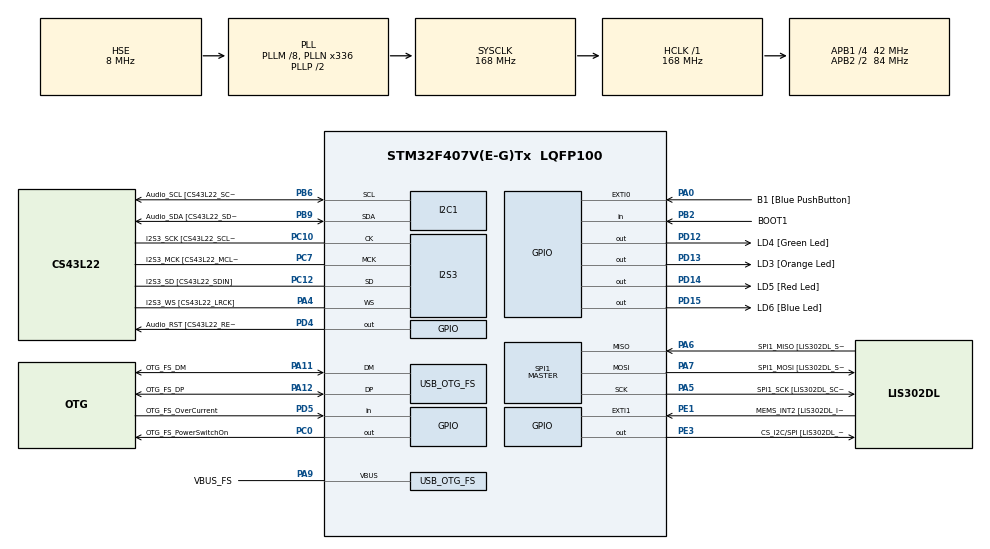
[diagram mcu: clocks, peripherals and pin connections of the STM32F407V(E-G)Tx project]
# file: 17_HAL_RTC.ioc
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I2S3.AudioFreq-Half_Duplex_Master=I2S_AUDIOFREQ_96K
I2S3.ErrorAudioFreq=-2.34 %
I2S3.ErrorAudioFreq-Half_Duplex_Master=0.8 %
I2S3.FullDuplexMode=I2S_FULLDUPLEXMODE_DISABLE
I2S3.Instance=SPI$Index
I2S3.RealAudioFreq=93.75 KHz
I2S3.RealAudioFreq-Half_Duplex_Master=96.774 KHz
I2S3.VirtualMode=I2S_MODE_MASTER
Mcu.Family=STM32F4
Mcu.Name=STM32F407V(E-G)Tx
Mcu.Package=LQFP100
NVIC.OTG_FS_IRQn=true\:0\:0\:false\:false\:true\:true\:true\:true
NVIC.PriorityGroup=NVIC_PRIORITYGROUP_0
PA0-WKUP.GPIO_Label=B1 [Blue PushButton]
PA0-WKUP.GPIO_ModeDefaultEXTI=GPIO_MODE_EVT_RISING
PA0-WKUP.GPIO_PuPd=GPIO_NOPULL
PA0-WKUP.Signal=GPXTI0
PA10.GPIO_Label=OTG_FS_ID
PA10.GPIO_Mode=GPIO_MODE_AF_PP
PA10.GPIO_PuPd=GPIO_NOPULL
PA10.GPIO_Speed=GPIO_SPEED_FREQ_LOW
PA10.Signal=USB_OTG_FS_ID
PA11.GPIO_Label=OTG_FS_DM
PA11.GPIO_Mode=GPIO_MODE_AF_PP
PA11.GPIO_PuPd=GPIO_NOPULL
PA11.GPIO_Speed=GPIO_SPEED_FREQ_LOW
PA11.Mode=Host_Only
PA11.Signal=USB_OTG_FS_DM
PA12.GPIO_Label=OTG_FS_DP
PA12.GPIO_Mode=GPIO_MODE_AF_PP
PA12.GPIO_PuPd=GPIO_NOPULL
PA12.GPIO_Speed=GPIO_SPEED_FREQ_LOW
PA12.Mode=Host_Only
PA12.Signal=USB_OTG_FS_DP
PA13.GPIO_Label=SWDIO
PA13.Mode=Serial_Wire
PA13.Signal=SYS_JTMS-SWDIO
PA14.GPIO_Label=SWCLK
PA14.Mode=Serial_Wire
PA14.Signal=SYS_JTCK-SWCLK
PA4.GPIO_Label=I2S3_WS [CS43L22_LRCK]
PA4.GPIO_Mode=GPIO_MODE_AF_PP
PA4.GPIO_PuPd=GPIO_NOPULL
PA4.GPIO_Speed=GPIO_SPEED_FREQ_LOW
PA4.Mode=Half_Duplex_Master
PA4.Signal=I2S3_WS
PA5.GPIO_Label=SPI1_SCK [LIS302DL_SCL/SPC]
PA5.GPIO_Mode=GPIO_MODE_AF_PP
PA5.GPIO_PuPd=GPIO_NOPULL
PA5.GPIO_Speed=GPIO_SPEED_FREQ_LOW
PA5.Mode=Full_Duplex_Master
PA5.Signal=SPI1_SCK
PA6.GPIO_Label=SPI1_MISO [LIS302DL_SDO]
PA6.GPIO_Mode=GPIO_MODE_AF_PP
PA6.GPIO_PuPd=GPIO_NOPULL
PA6.GPIO_Speed=GPIO_SPEED_FREQ_LOW
PA6.Mode=Full_Duplex_Master
PA6.Signal=SPI1_MISO
PA7.GPIO_Label=SPI1_MOSI [LIS302DL_SDA/SDI/SDO]
PA7.GPIO_Mode=GPIO_MODE_AF_PP
PA7.GPIO_PuPd=GPIO_NOPULL
PA7.GPIO_Speed=GPIO_SPEED_FREQ_LOW
PA7.Mode=Full_Duplex_Master
PA7.Signal=SPI1_MOSI
PA9.GPIO_Label=VBUS_FS
PA9.GPIO_Mode=GPIO_MODE_INPUT
PA9.GPIO_PuPd=GPIO_NOPULL
PA9.Mode=Activate_VBUS
PA9.Signal=USB_OTG_FS_VBUS
PB10.GPIO_Label=CLK_IN [MP45DT02_CLK]
PB10.GPIO_Mode=GPIO_MODE_AF_PP
PB10.GPIO_PuPd=GPIO_NOPULL
PB10.GPIO_Speed=GPIO_SPEED_FREQ_LOW
PB10.Signal=I2S2_CK
PB2.GPIO_Label=BOOT1
PB2.GPIO_Mode=GPIO_MODE_INPUT
PB2.GPIO_PuPd=GPIO_NOPULL
PB2.Signal=GPIO_Input
PB3.GPIO_Label=SWO
PB3.Signal=SYS_JTDO-SWO
PB6.GPIO_Label=Audio_SCL [CS43L22_SCL]
PB6.GPIO_Mode=GPIO_MODE_AF_OD
PB6.GPIO_Pu=GPIO_PULLUP
PB6.GPIO_PuPd=GPIO_NOPULL
PB6.GPIO_Speed=GPIO_SPEED_FREQ_LOW
PB6.Mode=I2C
PB6.Signal=I2C1_SCL
PB9.GPIO_Label=Audio_SDA [CS43L22_SDA]
PB9.GPIO_Mode=GPIO_MODE_AF_OD
PB9.GPIO_Pu=GPIO_PULLUP
PB9.GPIO_PuPd=GPIO_NOPULL
PB9.GPIO_Speed=GPIO_SPEED_FREQ_LOW
PB9.Mode=I2C
PB9.Signal=I2C1_SDA
PC0.GPIO_Label=OTG_FS_PowerSwitchOn
PC0.GPIO_PuPd=GPIO_NOPULL
PC0.GPIO_Speed=GPIO_SPEED_FREQ_LOW
PC0.PinState=GPIO_PIN_SET
PC0.Signal=GPIO_Output
PC10.GPIO_Label=I2S3_SCK [CS43L22_SCLK]
PC10.GPIO_Mode=GPIO_MODE_AF_PP
PC10.GPIO_PuPd=GPIO_NOPULL
PC10.GPIO_Speed=GPIO_SPEED_FREQ_LOW
PC10.Mode=Half_Duplex_Master
PC10.Signal=I2S3_CK
PC12.GPIO_Label=I2S3_SD [CS43L22_SDIN]
PC12.GPIO_Mode=GPIO_MODE_AF_PP
PC12.GPIO_PuPd=GPIO_NOPULL
PC12.GPIO_Speed=GPIO_SPEED_FREQ_LOW
PC12.Mode=Half_Duplex_Master
PC12.Signal=I2S3_SD
PC14-OSC32_IN.GPIO_Label=PC14-OSC32_IN
PC14-OSC32_IN.Mode=LSE-External-Oscillator
PC14-OSC32_IN.Signal=RCC_OSC32_IN
PC15-OSC32_OUT.GPIO_Label=PC15-OSC32_OUT
PC15-OSC32_OUT.Mode=LSE-External-Oscillator
PC15-OSC32_OUT.Signal=RCC_OSC32_OUT
PC3.GPIO_Label=PDM_OUT [MP45DT02_DOUT]
PC3.GPIO_Mode=GPIO_MODE_AF_PP
PC3.GPIO_PuPd=GPIO_NOPULL
PC3.GPIO_Speed=GPIO_SPEED_FREQ_LOW
PC3.Signal=I2S2_SD
PC7.GPIO_Label=I2S3_MCK [CS43L22_MCLK]
PC7.GPIO_Mode=GPIO_MODE_AF_PP
PC7.GPIO_PuPd=GPIO_NOPULL
PC7.GPIO_Speed=GPIO_SPEED_FREQ_LOW
PC7.Mode=Master_Clock_Activated
PC7.Signal=I2S3_MCK
PD12.GPIO_Label=LD4 [Green Led]
PD12.GPIO_PuPd=GPIO_NOPULL
PD12.GPIO_Speed=GPIO_SPEED_FREQ_LOW
PD12.Signal=GPIO_Output
PD13.GPIO_Label=LD3 [Orange Led]
PD13.GPIO_PuPd=GPIO_NOPULL
PD13.GPIO_Speed=GPIO_SPEED_FREQ_LOW
PD13.Signal=GPIO_Output
PD14.GPIO_Label=LD5 [Red Led]
PD14.GPIO_PuPd=GPIO_NOPULL
PD14.GPIO_Speed=GPIO_SPEED_FREQ_LOW
PD14.Signal=GPIO_Output
PD15.GPIO_Label=LD6 [Blue Led]
PD15.GPIO_PuPd=GPIO_NOPULL
PD15.GPIO_Speed=GPIO_SPEED_FREQ_LOW
PD15.Signal=GPIO_Output
PD4.GPIO_Label=Audio_RST [CS43L22_RESET]
PD4.GPIO_PuPd=GPIO_NOPULL
PD4.GPIO_Speed=GPIO_SPEED_FREQ_LOW
PD4.Signal=GPIO_Output
PD5.GPIO_Label=OTG_FS_OverCurrent
PD5.GPIO_Mode=GPIO_MODE_INPUT
PD5.GPIO_PuPd=GPIO_NOPULL
PD5.Signal=GPIO_Input
PE1.GPIO_Label=MEMS_INT2 [LIS302DL_INT2]
PE1.GPIO_ModeDefaultEXTI=GPIO_MODE_EVT_RISING
PE1.GPIO_PuPd=GPIO_NOPULL
PE1.Signal=GPXTI1
PE3.GPIO_Label=CS_I2C/SPI [LIS302DL_CS_I2C/SPI]
PE3.GPIO_PuPd=GPIO_NOPULL
PE3.GPIO_Speed=GPIO_SPEED_FREQ_LOW
PE3.Signal=GPIO_Output
PH0-OSC_IN.GPIO_Label=PH0-OSC_IN
PH0-OSC_IN.Mode=HSE-External-Oscillator
PH0-OSC_IN.Signal=RCC_OSC_IN
PH1-OSC_OUT.GPIO_Label=PH1-OSC_OUT
PH1-OSC_OUT.Mode=HSE-External-Oscillator
PH1-OSC_OUT.Signal=RCC_OSC_OUT
ProjectManager.HeapSize=0x200
ProjectManager.StackSize=0x400
ProjectManager.TargetToolchain=STM32CubeIDE
RCC.48MHZClocksFreq_Value=48000000
RCC.AHBFreq_Value=168000000
RCC.APB1CLKDivider=RCC_HCLK_DIV4
RCC.APB1Freq_Value=42000000
RCC.APB1TimFreq_Value=84000000
RCC.APB2CLKDivider=RCC_HCLK_DIV2
RCC.APB2Freq_Value=84000000
RCC.APB2TimFreq_Value=168000000
RCC.CortexFreq_Value=168000000
RCC.HCLKFreq_Value=168000000
RCC.HSE_VALUE=8000000
RCC.HSI_VALUE=16000000
RCC.PLLM=8
RCC.PLLN=336
RCC.PLLQ=7
RCC.SYSCLKFreq_VALUE=168000000
RCC.SYSCLKSource=RCC_SYSCLKSOURCE_PLLCLK
RCC.VCOOutputFreq_Value=336000000
RTC.Alarm=RTC_ALARM_A
RTC.Alarm_B=RTC_ALARM_B
SPI1.BaudRatePrescaler-Full_Duplex_Master=SPI_BAUDRATEPRESCALER_2
SPI1.CalculateBaudRate-Full_Duplex_Master=42.0 MBits/s
SPI1.Direction=SPI_DIRECTION_2LINES
SPI1.Mode=SPI_MODE_MASTER
SPI1.Mode-Full_Duplex_Master=SPI_MODE_MASTER
SPI1.VirtualType=VM_MASTER
USB_HOST.BSP.number=1
USB_HOST.USBH_HandleTypeDef-CDC_FS=hUsbHostFS
USB_HOST.VirtualModeFS=Cdc
USB_HOST0.BSP.STBoard=false
USB_HOST0.BSP.api=Unknown
USB_HOST0.BSP.instance=PC0
USB_HOST0.BSP.ip=GPIO
USB_HOST0.BSP.mode=Output
USB_HOST0.BSP.name=Drive_VBUS_FS
USB_HOST0.BSP.solution=PC0
USB_OTG_FS.VirtualMode=Host_Only
USB_OTG_FS.phy_itface=HCD_PHY_EMBEDDED
VP_RTC_VS_RTC_Activate.Mode=RTC_Enabled
VP_RTC_VS_RTC_Alarm_A_Intern.Mode=Alarm A
VP_RTC_VS_RTC_Alarm_B_Intern.Mode=Alarm B
VP_RTC_VS_RTC_Calendar.Mode=RTC_Calendar
VP_RTC_VS_RTC_WakeUp_intern.Mode=WakeUp
VP_USB_HOST_VS_USB_HOST_CDC_FS.Mode=CDC_FS
board=STM32F407G-DISC1

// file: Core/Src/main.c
/* USER CODE BEGIN Header */
/**
  ******************************************************************************
  * @file           : main.c
  * @brief          : Main program body
  ******************************************************************************
  * @attention
  *
  * Copyright (c) 2026 STMicroelectronics.
  * All rights reserved.
  *
  * This software is licensed under terms that can be found in the LICENSE file
  * in the root directory of this software component.
  * If no LICENSE file comes with this software, it is provided AS-IS.
  *
  ******************************************************************************
  */
/* USER CODE END Header */
#include "main.h"
#include "usb_host.h"

/* USER CODE BEGIN Includes */

#include <stdio.h>
/* USER CODE END Includes */

I2C_HandleTypeDef hi2c1;

I2S_HandleTypeDef hi2s3;

RTC_HandleTypeDef hrtc;

SPI_HandleTypeDef hspi1;

/* USER CODE BEGIN PV */
RTC_TimeTypeDef sTime;
RTC_DateTypeDef sDate;
/* USER CODE END PV */

void SystemClock_Config(void);
static void MX_GPIO_Init(void);
static void MX_I2C1_Init(void);
static void MX_I2S3_Init(void);
static void MX_SPI1_Init(void);
static void MX_RTC_Init(void);
void MX_USB_HOST_Process(void);

int main(void)
{

  /* MCU Configuration--------------------------------------------------------*/

  /* Reset of all peripherals, Initializes the Flash interface and the Systick. */
  HAL_Init();

  /* Configure the system clock */
  SystemClock_Config();

  /* Initialize all configured peripherals */
  MX_GPIO_Init();
  MX_I2C1_Init();
  MX_I2S3_Init();
  MX_SPI1_Init();
  MX_USB_HOST_Init();
  MX_RTC_Init();
  /* USER CODE BEGIN 2 */
  sTime.Hours = 10;
  sTime.Minutes = 30;
  sTime.Seconds = 0;

  HAL_RTC_SetTime(&hrtc, &sTime, RTC_FORMAT_BIN);

  sDate.WeekDay = RTC_WEEKDAY_MONDAY;
  sDate.Month = RTC_MONTH_MAY;
  sDate.Date = 17;
  sDate.Year = 26;

  HAL_RTC_SetDate(&hrtc, &sDate, RTC_FORMAT_BIN);
  /* USER CODE END 2 */

  /* Infinite loop */
  while (1)
  {
	  HAL_RTC_GetTime(&hrtc, &sTime, RTC_FORMAT_BIN);
	  HAL_RTC_GetDate(&hrtc, &sDate, RTC_FORMAT_BIN);

	  printf("Time: %02d:%02d:%02d\r\n",
	         sTime.Hours,
	         sTime.Minutes,
	         sTime.Seconds);

	  HAL_Delay(1000);

  }
}

void SystemClock_Config(void)
{
  RCC_OscInitTypeDef RCC_OscInitStruct = {0};
  RCC_ClkInitTypeDef RCC_ClkInitStruct = {0};

  /** Configure the main internal regulator output voltage
  */
  __HAL_RCC_PWR_CLK_ENABLE();
  __HAL_PWR_VOLTAGESCALING_CONFIG(PWR_REGULATOR_VOLTAGE_SCALE1);

  /** Initializes the RCC Oscillators according to the specified parameters
  * in the RCC_OscInitTypeDef structure.
  */
  RCC_OscInitStruct.OscillatorType = RCC_OSCILLATORTYPE_LSI|RCC_OSCILLATORTYPE_HSE;
  RCC_OscInitStruct.HSEState = RCC_HSE_ON;
  RCC_OscInitStruct.LSIState = RCC_LSI_ON;
  RCC_OscInitStruct.PLL.PLLState = RCC_PLL_ON;
  RCC_OscInitStruct.PLL.PLLSource = RCC_PLLSOURCE_HSE;
  RCC_OscInitStruct.PLL.PLLM = 8;
  RCC_OscInitStruct.PLL.PLLN = 336;
  RCC_OscInitStruct.PLL.PLLP = RCC_PLLP_DIV2;
  RCC_OscInitStruct.PLL.PLLQ = 7;
  if (HAL_RCC_OscConfig(&RCC_OscInitStruct) != HAL_OK)
  {
    Error_Handler();
  }

  /** Initializes the CPU, AHB and APB buses clocks
  */
  RCC_ClkInitStruct.ClockType = RCC_CLOCKTYPE_HCLK|RCC_CLOCKTYPE_SYSCLK
                              |RCC_CLOCKTYPE_PCLK1|RCC_CLOCKTYPE_PCLK2;
  RCC_ClkInitStruct.SYSCLKSource = RCC_SYSCLKSOURCE_PLLCLK;
  RCC_ClkInitStruct.AHBCLKDivider = RCC_SYSCLK_DIV1;
  RCC_ClkInitStruct.APB1CLKDivider = RCC_HCLK_DIV4;
  RCC_ClkInitStruct.APB2CLKDivider = RCC_HCLK_DIV2;

  if (HAL_RCC_ClockConfig(&RCC_ClkInitStruct, FLASH_LATENCY_5) != HAL_OK)
  {
    Error_Handler();
  }
}

static void MX_I2C1_Init(void)
{

  hi2c1.Instance = I2C1;
  hi2c1.Init.ClockSpeed = 100000;
  hi2c1.Init.DutyCycle = I2C_DUTYCYCLE_2;
  hi2c1.Init.OwnAddress1 = 0;
  hi2c1.Init.AddressingMode = I2C_ADDRESSINGMODE_7BIT;
  hi2c1.Init.DualAddressMode = I2C_DUALADDRESS_DISABLE;
  hi2c1.Init.OwnAddress2 = 0;
  hi2c1.Init.GeneralCallMode = I2C_GENERALCALL_DISABLE;
  hi2c1.Init.NoStretchMode = I2C_NOSTRETCH_DISABLE;
  if (HAL_I2C_Init(&hi2c1) != HAL_OK)
  {
    Error_Handler();
  }

}

static void MX_I2S3_Init(void)
{

  hi2s3.Instance = SPI3;
  hi2s3.Init.Mode = I2S_MODE_MASTER_TX;
  hi2s3.Init.Standard = I2S_STANDARD_PHILIPS;
  hi2s3.Init.DataFormat = I2S_DATAFORMAT_16B;
  hi2s3.Init.MCLKOutput = I2S_MCLKOUTPUT_ENABLE;
  hi2s3.Init.AudioFreq = I2S_AUDIOFREQ_96K;
  hi2s3.Init.CPOL = I2S_CPOL_LOW;
  hi2s3.Init.ClockSource = I2S_CLOCK_PLL;
  hi2s3.Init.FullDuplexMode = I2S_FULLDUPLEXMODE_DISABLE;
  if (HAL_I2S_Init(&hi2s3) != HAL_OK)
  {
    Error_Handler();
  }

}

static void MX_RTC_Init(void)
{

  /** Initialize RTC Only
  */
  hrtc.Instance = RTC;
  hrtc.Init.HourFormat = RTC_HOURFORMAT_24;
  hrtc.Init.AsynchPrediv = 127;
  hrtc.Init.SynchPrediv = 255;
  hrtc.Init.OutPut = RTC_OUTPUT_DISABLE;
  hrtc.Init.OutPutPolarity = RTC_OUTPUT_POLARITY_HIGH;
  hrtc.Init.OutPutType = RTC_OUTPUT_TYPE_OPENDRAIN;
  if (HAL_RTC_Init(&hrtc) != HAL_OK)
  {
    Error_Handler();
  }

  /** Initialize RTC and set the Time and Date
  */
  sTime.Hours = 0x0;
  sTime.Minutes = 0x0;
  sTime.Seconds = 0x0;
  sTime.DayLightSaving = RTC_DAYLIGHTSAVING_NONE;
  sTime.StoreOperation = RTC_STOREOPERATION_RESET;

}

static void MX_SPI1_Init(void)
{

  /* SPI1 parameter configuration*/
  hspi1.Instance = SPI1;
  hspi1.Init.Mode = SPI_MODE_MASTER;
  hspi1.Init.Direction = SPI_DIRECTION_2LINES;
  hspi1.Init.DataSize = SPI_DATASIZE_8BIT;
  hspi1.Init.CLKPolarity = SPI_POLARITY_LOW;
  hspi1.Init.CLKPhase = SPI_PHASE_1EDGE;
  hspi1.Init.NSS = SPI_NSS_SOFT;
  hspi1.Init.BaudRatePrescaler = SPI_BAUDRATEPRESCALER_2;
  hspi1.Init.FirstBit = SPI_FIRSTBIT_MSB;
  hspi1.Init.TIMode = SPI_TIMODE_DISABLE;
  hspi1.Init.CRCCalculation = SPI_CRCCALCULATION_DISABLE;
  hspi1.Init.CRCPolynomial = 10;
  if (HAL_SPI_Init(&hspi1) != HAL_OK)
  {
    Error_Handler();
  }

}

static void MX_GPIO_Init(void)
{
  GPIO_InitTypeDef GPIO_InitStruct = {0};

  /* GPIO Ports Clock Enable */
  __HAL_RCC_GPIOE_CLK_ENABLE();
  __HAL_RCC_GPIOC_CLK_ENABLE();
  __HAL_RCC_GPIOH_CLK_ENABLE();
  __HAL_RCC_GPIOA_CLK_ENABLE();
  __HAL_RCC_GPIOB_CLK_ENABLE();
  __HAL_RCC_GPIOD_CLK_ENABLE();

  /*Configure GPIO pin Output Level */
  HAL_GPIO_WritePin(CS_I2C_SPI_GPIO_Port, CS_I2C_SPI_Pin, GPIO_PIN_RESET);

  /*Configure GPIO pin Output Level */
  HAL_GPIO_WritePin(OTG_FS_PowerSwitchOn_GPIO_Port, OTG_FS_PowerSwitchOn_Pin, GPIO_PIN_SET);

  /*Configure GPIO pin Output Level */
  HAL_GPIO_WritePin(GPIOD, LD4_Pin|LD3_Pin|LD5_Pin|LD6_Pin
                          |Audio_RST_Pin, GPIO_PIN_RESET);

  /*Configure GPIO pin : CS_I2C_SPI_Pin */
  GPIO_InitStruct.Pin = CS_I2C_SPI_Pin;
  GPIO_InitStruct.Mode = GPIO_MODE_OUTPUT_PP;
  GPIO_InitStruct.Pull = GPIO_NOPULL;
  GPIO_InitStruct.Speed = GPIO_SPEED_FREQ_LOW;
  HAL_GPIO_Init(CS_I2C_SPI_GPIO_Port, &GPIO_InitStruct);

  /*Configure GPIO pin : OTG_FS_PowerSwitchOn_Pin */
  GPIO_InitStruct.Pin = OTG_FS_PowerSwitchOn_Pin;
  GPIO_InitStruct.Mode = GPIO_MODE_OUTPUT_PP;
  GPIO_InitStruct.Pull = GPIO_NOPULL;
  GPIO_InitStruct.Speed = GPIO_SPEED_FREQ_LOW;
  HAL_GPIO_Init(OTG_FS_PowerSwitchOn_GPIO_Port, &GPIO_InitStruct);

  /*Configure GPIO pin : PDM_OUT_Pin */
  GPIO_InitStruct.Pin = PDM_OUT_Pin;
  GPIO_InitStruct.Mode = GPIO_MODE_AF_PP;
  GPIO_InitStruct.Pull = GPIO_NOPULL;
  GPIO_InitStruct.Speed = GPIO_SPEED_FREQ_LOW;
  GPIO_InitStruct.Alternate = GPIO_AF5_SPI2;
  HAL_GPIO_Init(PDM_OUT_GPIO_Port, &GPIO_InitStruct);

  /*Configure GPIO pin : B1_Pin */
  GPIO_InitStruct.Pin = B1_Pin;
  GPIO_InitStruct.Mode = GPIO_MODE_EVT_RISING;
  GPIO_InitStruct.Pull = GPIO_NOPULL;
  HAL_GPIO_Init(B1_GPIO_Port, &GPIO_InitStruct);

  /*Configure GPIO pin : BOOT1_Pin */
  GPIO_InitStruct.Pin = BOOT1_Pin;
  GPIO_InitStruct.Mode = GPIO_MODE_INPUT;
  GPIO_InitStruct.Pull = GPIO_NOPULL;
  HAL_GPIO_Init(BOOT1_GPIO_Port, &GPIO_InitStruct);

  /*Configure GPIO pin : CLK_IN_Pin */
  GPIO_InitStruct.Pin = CLK_IN_Pin;
  GPIO_InitStruct.Mode = GPIO_MODE_AF_PP;
  GPIO_InitStruct.Pull = GPIO_NOPULL;
  GPIO_InitStruct.Speed = GPIO_SPEED_FREQ_LOW;
  GPIO_InitStruct.Alternate = GPIO_AF5_SPI2;
  HAL_GPIO_Init(CLK_IN_GPIO_Port, &GPIO_InitStruct);

  /*Configure GPIO pins : LD4_Pin LD3_Pin LD5_Pin LD6_Pin
                           Audio_RST_Pin */
  GPIO_InitStruct.Pin = LD4_Pin|LD3_Pin|LD5_Pin|LD6_Pin
                          |Audio_RST_Pin;
  GPIO_InitStruct.Mode = GPIO_MODE_OUTPUT_PP;
  GPIO_InitStruct.Pull = GPIO_NOPULL;
  GPIO_InitStruct.Speed = GPIO_SPEED_FREQ_LOW;
  HAL_GPIO_Init(GPIOD, &GPIO_InitStruct);

  /*Configure GPIO pin : OTG_FS_OverCurrent_Pin */
  GPIO_InitStruct.Pin = OTG_FS_OverCurrent_Pin;
  GPIO_InitStruct.Mode = GPIO_MODE_INPUT;
  GPIO_InitStruct.Pull = GPIO_NOPULL;
  HAL_GPIO_Init(OTG_FS_OverCurrent_GPIO_Port, &GPIO_InitStruct);

  /*Configure GPIO pin : MEMS_INT2_Pin */
  GPIO_InitStruct.Pin = MEMS_INT2_Pin;
  GPIO_InitStruct.Mode = GPIO_MODE_EVT_RISING;
  GPIO_InitStruct.Pull = GPIO_NOPULL;
  HAL_GPIO_Init(MEMS_INT2_GPIO_Port, &GPIO_InitStruct);

}

/* USER CODE BEGIN 4 */
extern UART_HandleTypeDef huart2;

int _write(int file, char *ptr, int len)
{
    HAL_UART_Transmit(&huart2, (uint8_t*)ptr, len, HAL_MAX_DELAY);
    return len;
}
/* USER CODE END 4 */

void Error_Handler(void)
{
  __disable_irq();
  while (1)
  {
  }
}
